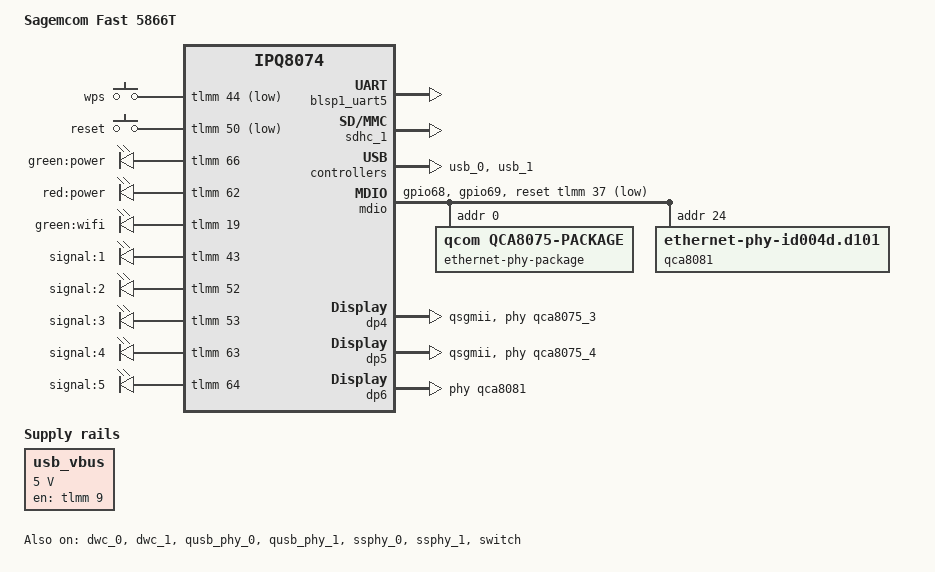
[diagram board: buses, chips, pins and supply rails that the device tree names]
// SPDX-License-Identifier: GPL-2.0-or-later OR MIT

/dts-v1/;

#include "ipq8074.dtsi"
#include "ipq8074-hk-cpu.dtsi"
#include "ipq8074-ess.dtsi"
#include <dt-bindings/gpio/gpio.h>
#include <dt-bindings/input/input.h>
#include <dt-bindings/leds/common.h>

/ {
	model = "Sagemcom Fast 5866T";
	compatible = "sagemcom,5866t", "qcom,ipq8074";

	aliases {
		led-boot = &led_power_green;
		led-failsafe = &led_power_red;
		led-running = &led_power_green;
		led-upgrade = &led_power_red;
		serial0 = &blsp1_uart5;
		ethernet0 = &dp4;
		ethernet1 = &dp5;
		ethernet2 = &dp6;
		label-mac-device = &dp4;
	};

	chosen {
		bootargs = "console=ttyMSM0,115200n8 root=PARTUUID=875f6913-71e4-0510-ff39-ca49868b1762 gpt rootwait quiet loglevel=0 swiotlb=1 coherent_pool=2M";
		stdout-path = "serial0";
	};

	keys {
		compatible = "gpio-keys";

		wps {
			label = "wps";
			linux,code = <KEY_WPS_BUTTON>;
			gpios = <&tlmm 44 GPIO_ACTIVE_LOW>;
			debounce-interval = <60>;
		};

		reset {
			label = "reset";
			linux,code = <KEY_RESTART>;
			gpios = <&tlmm 50 GPIO_ACTIVE_LOW>;
			debounce-interval = <60>;
		};
	};

	leds {
		compatible = "gpio-leds";

		led_power_green: green_power {
			label = "green:power";
			gpios = <&tlmm 66 GPIO_ACTIVE_HIGH>;
			default-state = "on";
		};

		led_power_red: red_power {
			label = "red:power";
			gpios = <&tlmm 62 GPIO_ACTIVE_HIGH>;
		};

		led_wifi: green_wifi {
			label = "green:wifi";
			gpios = <&tlmm 19 GPIO_ACTIVE_HIGH>;
			linux,default-trigger = "netdev";
			default-state = "off";
		};

		led_signal1 {
			label = "signal:1";
			gpios = <&tlmm 43 GPIO_ACTIVE_HIGH>;
			default-state = "off";
		};

		led_signal2 {
			label = "signal:2";
			gpios = <&tlmm 52 GPIO_ACTIVE_HIGH>;
			default-state = "off";
		};

		led_signal3 {
			label = "signal:3";
			gpios = <&tlmm 53 GPIO_ACTIVE_HIGH>;
			default-state = "off";
		};

		led_signal4 {
			label = "signal:4";
			gpios = <&tlmm 63 GPIO_ACTIVE_HIGH>;
			default-state = "off";
		};

		led_signal5 {
			label = "signal:5";
			gpios = <&tlmm 64 GPIO_ACTIVE_HIGH>;
			default-state = "off";
		};
	};

	usb_vbus: regulator-usb-vbus {
		compatible = "regulator-fixed";
		regulator-name = "usb_vbus";
		regulator-min-microvolt = <5000000>;
		regulator-max-microvolt = <5000000>;
		gpio = <&tlmm 9 GPIO_ACTIVE_HIGH>;
		enable-active-high;
		regulator-boot-on;
		regulator-always-on;
	};
};

&tlmm {
	mdio_pins: mdio-pins {
		mdc {
			pins = "gpio68";
			function = "mdc";
			drive-strength = <8>;
			bias-pull-up;
		};

		mdio {
			pins = "gpio69";
			function = "mdio";
			drive-strength = <8>;
			bias-pull-up;
		};
	};

	button_pins: button-pins {
		wps_button {
			pins = "gpio44";
			function = "gpio";
			drive-strength = <8>;
			bias-pull-up;
		};

		reset_button {
			pins = "gpio50";
			function = "gpio";
			drive-strength = <8>;
			bias-pull-up;
		};
	};

	led_pins: led-pins {
		power_green {
			pins = "gpio66";
			function = "gpio";
			drive-strength = <8>;
			bias-pull-down;
		};

		power_red {
			pins = "gpio62";
			function = "gpio";
			drive-strength = <8>;
			bias-pull-down;
		};

		wifi {
			pins = "gpio19";
			function = "gpio";
			drive-strength = <8>;
			bias-pull-down;
		};

		signal1 {
			pins = "gpio43";
			function = "gpio";
			drive-strength = <8>;
			bias-pull-down;
		};

		signal2 {
			pins = "gpio52";
			function = "gpio";
			drive-strength = <8>;
			bias-pull-down;
		};

		signal3 {
			pins = "gpio53";
			function = "gpio";
			drive-strength = <8>;
			bias-pull-down;
		};

		signal4 {
			pins = "gpio63";
			function = "gpio";
			drive-strength = <8>;
			bias-pull-down;
		};

		signal5 {
			pins = "gpio64";
			function = "gpio";
			drive-strength = <8>;
			bias-pull-down;
		};
	};
};

&blsp1_uart5 {
	status = "okay";
};

&sdhc_1 {
	status = "okay";

	partitions {
		compatible = "fixed-partitions";
		#address-cells = <1>;
		#size-cells = <1>;

		partition@0 {
			label = "0:sbl1";
			reg = <0x0 0x80000>;
			read-only;
		};

		partition@80000 {
			label = "0:mibib";
			reg = <0x80000 0x80000>;
			read-only;
		};

		partition@100000 {
			label = "0:bootconfig";
			reg = <0x100000 0x40000>;
			read-only;
		};

		partition@140000 {
			label = "0:bootconfig1";
			reg = <0x140000 0x40000>;
			read-only;
		};

		partition@180000 {
			label = "0:qsee";
			reg = <0x180000 0x180000>;
			read-only;
		};

		partition@300000 {
			label = "0:qsee_1";
			reg = <0x300000 0x180000>;
			read-only;
		};

		partition@480000 {
			label = "0:devcfg";
			reg = <0x480000 0x40000>;
			read-only;
		};

		partition@4c0000 {
			label = "0:devcfg_1";
			reg = <0x4c0000 0x40000>;
			read-only;
		};

		partition@500000 {
			label = "0:apdp";
			reg = <0x500000 0x40000>;
			read-only;
		};

		partition@540000 {
			label = "0:apdp_1";
			reg = <0x540000 0x40000>;
			read-only;
		};

		partition@580000 {
			label = "0:rpm";
			reg = <0x580000 0x40000>;
			read-only;
		};

		partition@5c0000 {
			label = "0:rpm_1";
			reg = <0x5c0000 0x40000>;
			read-only;
		};

		partition@600000 {
			label = "0:cdt";
			reg = <0x600000 0x40000>;
			read-only;
		};

		partition@640000 {
			label = "0:cdt_1";
			reg = <0x640000 0x40000>;
			read-only;
		};

		partition@680000 {
			label = "0:appsblenv";
			reg = <0x680000 0x40000>;
		};

		partition@6c0000 {
			label = "0:appsbl";
			reg = <0x6c0000 0x100000>;
			read-only;
		};

		partition@7c0000 {
			label = "0:appsbl_1";
			reg = <0x7c0000 0x100000>;
			read-only;
		};

		partition@8c0000 {
			label = "0:art";
			reg = <0x8c0000 0x40000>;
			read-only;
		};

		partition@900000 {
			label = "0:hlos";
			reg = <0x900000 0x1400000>;
		};

		partition@1d00000 {
			label = "rootfs";
			reg = <0x1d00000 0x4b00000>;
		};

		partition@6800000 {
			label = "rootfs_1";
			reg = <0x6800000 0x4b00000>;
		};

		partition@b300000 {
			label = "0:wififw";
			reg = <0xb300000 0x400000>;
			read-only;
		};

		partition@b700000 {
			label = "0:ethphyfw";
			reg = <0xb700000 0x80000>;
			read-only;
		};
	};
};

&usb_0 {
	status = "okay";
};

&usb_1 {
	status = "okay";
};

&dwc_0 {
	status = "okay";
	dr_mode = "peripheral";
};

&dwc_1 {
	status = "okay";
	dr_mode = "host";
};

&qusb_phy_0 {
	status = "okay";
};

&qusb_phy_1 {
	status = "okay";
};

&ssphy_0 {
	status = "okay";
};

&ssphy_1 {
	status = "okay";
};

&mdio {
	status = "okay";

	pinctrl-0 = <&mdio_pins>;
	pinctrl-names = "default";
	reset-gpios = <&tlmm 37 GPIO_ACTIVE_LOW>;

	ethernet-phy-package@0 {
		compatible = "qcom,qca8075-package";
		#address-cells = <1>;
		#size-cells = <0>;
		reg = <0>;

		qcom,package-mode = "qsgmii";

		qca8075_3: ethernet-phy@3 {
			compatible = "ethernet-phy-ieee802.3-c22";
			reg = <3>;
		};

		qca8075_4: ethernet-phy@4 {
			compatible = "ethernet-phy-ieee802.3-c22";
			reg = <4>;
		};
	};

	qca8081: ethernet-phy@24 {
		compatible = "ethernet-phy-id004d.d101";
		reg = <24>;
		reset-deassert-us = <10000>;
	};
};

&switch {
	status = "okay";

	switch_lan_bmp = <(ESS_PORT4 | ESS_PORT5)>;
	switch_wan_bmp = <ESS_PORT6>;
	switch_mac_mode = <MAC_MODE_QSGMII>;

	qcom,port_phyinfo {
		port@4 {
			port_id = <4>;
			phy_address = <3>;
		};
		port@5 {
			port_id = <5>;
			phy_address = <4>;
		};
		port@6 {
			port_id = <6>;
			phy_address = <24>;
			port_mac_sel = "QGMAC_PORT";
		};
	};
};

&edma {
	status = "okay";
};

&dp4 {
	status = "okay";
	phy-mode = "qsgmii";
	phy-handle = <&qca8075_3>;
	label = "lan1";
};

&dp5 {
	status = "okay";
	phy-mode = "qsgmii";
	phy-handle = <&qca8075_4>;
	label = "lan2";
};

&dp6 {
	status = "okay";
	phy-handle = <&qca8081>;
	label = "wan";
};

&wifi {
	status = "disabled";
};
